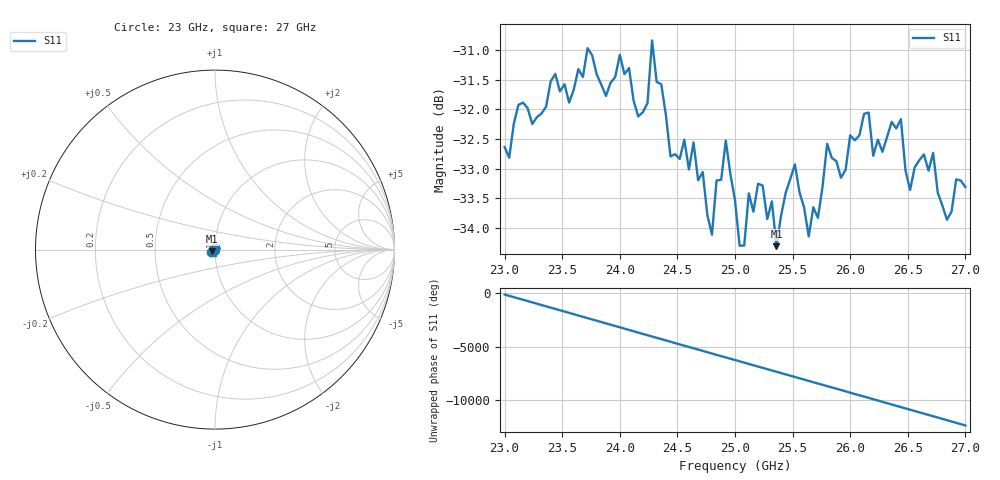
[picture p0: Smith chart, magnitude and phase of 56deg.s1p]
#  HZ  S  RI  R  50.00
! Rohde & Schwarz ZVA40 4Ports - Version 3.90 - 1145.1110k42 SN: 100403
! Date: 2023-09-26 10:54:56
! Measurement: S12
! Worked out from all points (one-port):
!   101 points, 23 GHz to 27 GHz, reference 50 ohm
!   lowest |S11| = -34.3 dB at 25.36 GHz (marker M1), VSWR 1.04, Z = 48.3 - j0.874 ohm
!   |S11| at or under -10 dB: start of sweep to end of sweep
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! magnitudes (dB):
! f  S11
! 23 GHz  -32.6
! 23.52 GHz  -31.6
! 23.72 GHz  -31.0
! 23.88 GHz  -31.8
! 24 GHz  -31.1
! 24.16 GHz  -32.1
! 24.24 GHz  -31.9
! 24.28 GHz  -30.8
! 24.44 GHz  -32.8
! 24.52 GHz  -32.8
! 24.64 GHz  -32.6
! 24.8 GHz  -34.1
! 24.92 GHz  -32.5
! 25 GHz  -33.5
! 25.08 GHz  -34.3
! 25.12 GHz  -33.4
! 25.24 GHz  -33.3
! 25.36 GHz  -34.3
! 25.52 GHz  -32.9
! 25.64 GHz  -34.1
! 25.8 GHz  -32.6
! 25.92 GHz  -33.2
! 26 GHz  -32.4
! 26.44 GHz  -32.2
! 26.52 GHz  -33.4
! 26.72 GHz  -32.7
! 26.84 GHz  -33.9
! 27 GHz  -33.3
